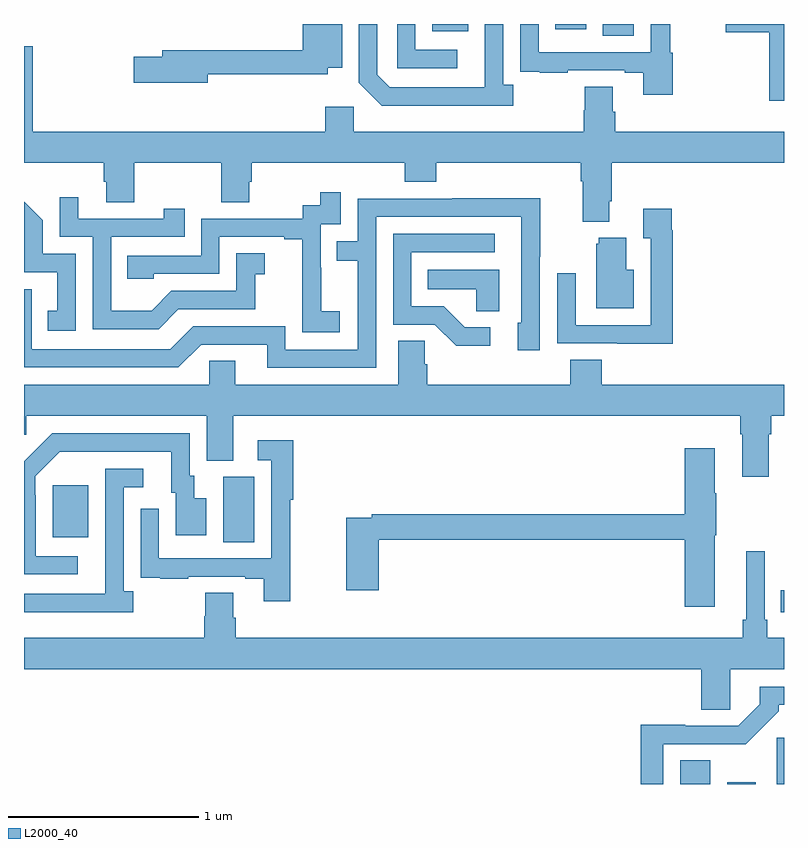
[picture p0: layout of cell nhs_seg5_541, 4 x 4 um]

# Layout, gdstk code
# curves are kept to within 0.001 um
import gdstk
lib = gdstk.Library(unit=1e-6, precision=1e-09)
def R(c, l, rs):  # rectangles x0, y0, x1, y1
    for r in rs: c.add(gdstk.rectangle(r[:2], r[2:], *l))
def P(c, l, *ps):  # polygons
    for p in ps: c.add(gdstk.Polygon(p, *l))
L2000_40 = (2000, 40)

nhs_seg5_541 = lib.new_cell('nhs_seg5_541')
R(nhs_seg5_541, L2000_40, [(148.454,878.799,148.612,878.924), (148.7,878.799,148.852,878.809), (148.962,878.799,149,879.043), (148.984,879.702,149,879.818), (146.048,880.072,146.212,880.416), (145.151,880.097,145.339,880.372), (148.046,882.736,148.21,882.799), (147.149,882.761,147.337,882.799), (147.797,882.771,147.958,882.799)])
P(nhs_seg5_541, L2000_40, [(149,882.799),(148.694,882.799),(148.694,882.755),(148.922,882.755),(148.922,882.396),(149,882.396)],
  [(145.966,882.534),(146.598,882.534),(146.598,882.569),(146.674,882.569),(146.674,882.799),(146.467,882.799),(146.467,882.662),(145.727,882.662),(145.727,882.626),(145.578,882.626),(145.578,882.491),(145.966,882.491)],
  [(147.574,882.478),(147.522,882.478),(147.522,882.799),(147.426,882.799),(147.425,882.465),(146.925,882.465),(146.859,882.531),(146.859,882.799),(146.763,882.799),(146.763,882.489),(146.884,882.368),(147.574,882.368)],
  [(147.28,882.663),(147.06,882.663),(147.06,882.799),(146.964,882.799),(146.964,882.567),(147.28,882.567)],
  [(148.415,882.648),(148.4,882.648),(148.4,882.799),(148.299,882.799),(148.299,882.651),(147.708,882.651),(147.708,882.799),(147.612,882.799),(147.612,882.658),(147.613,882.658),(147.613,882.549),(147.715,882.549),(147.715,882.543),(147.863,882.543),(147.863,882.555),(148.163,882.555),(148.163,882.543),(148.259,882.543),(148.259,882.426),(148.415,882.426)],
  [(148.081,881.866),(148.094,881.866),(148.094,882.068),(149,882.068),(149,882.232),(148.112,882.232),(148.112,882.338),(148.099,882.338),(148.099,882.47),(147.952,882.47),(147.952,882.345),(147.947,882.345),(147.947,882.232),(146.736,882.232),(146.736,882.364),(146.585,882.364),(146.585,882.232),(145.045,882.232),(145.045,882.682),(145,882.682),(145,882.068),(145.421,882.068),(145.421,881.97),(145.433,881.97),(145.433,881.86),(145.581,881.86),(145.581,882.068),(146.038,882.068),(146.038,881.86),(146.185,881.86),(146.185,881.97),(146.198,881.97),(146.198,882.068),(147.005,882.068),(147.005,881.969),(147.17,881.969),(147.17,882.068),(147.929,882.068),(147.929,881.972),(147.941,881.972),(147.941,881.759),(148.081,881.759)],
  [(146.662,881.287),(146.564,881.287),(146.564,881.516),(146.562,881.516),(146.562,881.745),(146.667,881.745),(146.667,881.914),(146.559,881.914),(146.559,881.844),(146.466,881.844),(146.466,881.775),(145.932,881.775),(145.932,881.58),(145.543,881.58),(145.543,881.457),(145.683,881.457),(145.683,881.484),(146.028,881.484),(146.028,881.679),(146.369,881.679),(146.369,881.667),(146.465,881.667),(146.465,881.383),(146.464,881.383),(146.464,881.177),(146.662,881.177)],
  [(145.813,881.298),(146.217,881.298),(146.217,881.483),(146.266,881.483),(146.266,881.593),(146.118,881.593),(146.118,881.394),(145.776,881.394),(145.672,881.29),(145.458,881.29),(145.458,881.679),(145.847,881.679),(145.847,881.827),(145.736,881.827),(145.736,881.775),(145.285,881.775),(145.285,881.887),(145.188,881.887),(145.188,881.679),(145.362,881.679),(145.362,881.193),(145.708,881.193)],
  [(146.853,881.784),(147.618,881.784),(147.618,881.226),(147.599,881.226),(147.599,881.082),(147.714,881.082),(147.714,881.575),(147.717,881.575),(147.717,881.882),(147.253,881.882),(147.253,881.88),(146.757,881.88),(146.757,881.655),(146.647,881.655),(146.647,881.554),(146.757,881.554),(146.757,881.085),(146.376,881.085),(146.376,881.208),(145.89,881.208),(145.77,881.088),(145.041,881.088),(145.041,881.403),(145,881.403),(145,880.992),(145.812,880.992),(145.932,881.112),(146.279,881.112),(146.279,880.989),(146.853,880.989)],
  [(145.272,881.589),(145.098,881.589),(145.098,881.766),(145,881.864),(145,881.696),(145.002,881.694),(145.002,881.493),(145.175,881.493),(145.175,881.289),(145.126,881.289),(145.126,881.184),(145.272,881.184)],
  [(148.415,881.714),(148.408,881.714),(148.408,881.827),(148.259,881.827),(148.259,881.671),(148.299,881.671),(148.299,881.214),(147.903,881.214),(147.903,881.488),(147.807,881.488),(147.807,881.118),(148.123,881.118),(148.123,881.117),(148.415,881.117)],
  [(147.454,881.202),(147.319,881.202),(147.208,881.313),(147.039,881.313),(147.039,881.598),(147.478,881.598),(147.478,881.694),(146.943,881.694),(146.943,881.217),(147.162,881.217),(147.275,881.105),(147.454,881.105)],
  [(148.21,881.506),(148.171,881.506),(148.171,881.674),(148.025,881.674),(148.025,881.643),(148.013,881.643),(148.013,881.303),(148.21,881.303)],
  [(147.502,881.506),(147.124,881.506),(147.124,881.402),(147.381,881.402),(147.381,881.287),(147.502,881.287)],
  [(148.921,880.64),(148.934,880.64),(148.934,880.736),(149,880.736),(149,880.9),(148.04,880.9),(148.04,881.033),(147.875,881.033),(147.875,880.9),(147.122,880.9),(147.122,881.009),(147.108,881.009),(147.108,881.132),(146.969,881.132),(146.969,880.9),(146.113,880.9),(146.113,881.027),(145.974,881.027),(145.974,880.9),(145,880.9),(145,880.638),(145.011,880.638),(145.011,880.736),(145.961,880.736),(145.961,880.501),(146.101,880.501),(146.101,880.736),(148.769,880.736),(148.769,880.64),(148.781,880.64),(148.781,880.416),(148.921,880.416)],
  [(145.282,879.999),(145.062,879.999),(145.062,880.319),(145.059,880.319),(145.059,880.419),(145.188,880.548),(145.775,880.548),(145.775,880.332),(145.799,880.332),(145.799,880.107),(145.96,880.107),(145.96,880.303),(145.897,880.303),(145.897,880.422),(145.872,880.422),(145.872,880.644),(145.148,880.644),(145,880.498),(145,879.903),(145.282,879.903)],
  [(146.402,880.296),(146.417,880.296),(146.417,880.609),(146.229,880.609),(146.229,880.503),(146.301,880.503),(146.301,879.987),(145.71,879.987),(145.71,880.249),(145.614,880.249),(145.614,879.994),(145.615,879.994),(145.615,879.885),(145.717,879.885),(145.717,879.879),(145.865,879.879),(145.865,879.891),(146.165,879.891),(146.165,879.879),(146.261,879.879),(146.261,879.762),(146.402,879.762)],
  [(148.636,880.107),(148.644,880.107),(148.644,880.328),(148.636,880.328),(148.636,880.567),(148.478,880.567),(148.478,880.22),(146.83,880.22),(146.83,880.2),(146.696,880.2),(146.696,879.819),(146.867,879.819),(146.867,880.084),(148.478,880.084),(148.478,879.732),(148.636,879.732)],
  [(145.576,879.814),(145.524,879.814),(145.524,880.362),(145.627,880.362),(145.627,880.458),(145.428,880.458),(145.428,880.001),(145.427,880.001),(145.427,879.801),(145,879.801),(145,879.704),(145.576,879.704)],
  [(148.716,879.404),(149,879.404),(149,879.568),(148.913,879.568),(148.913,879.664),(148.899,879.664),(148.899,880.024),(148.802,880.024),(148.802,879.664),(148.783,879.664),(148.783,879.568),(146.114,879.568),(146.114,879.674),(146.101,879.674),(146.101,879.806),(145.954,879.806),(145.954,879.681),(145.949,879.681),(145.949,879.568),(145,879.568),(145,879.404),(148.565,879.404),(148.565,879.19),(148.716,879.19)],
  [(148.365,879.009),(148.798,879.008),(148.972,879.181),(148.972,879.215),(149,879.215),(149,879.312),(148.872,879.312),(148.872,879.219),(148.758,879.105),(148.481,879.105),(148.481,879.11),(148.245,879.11),(148.245,878.799),(148.365,878.799)])

lib.write_gds('nhs_seg5_541.gds')
